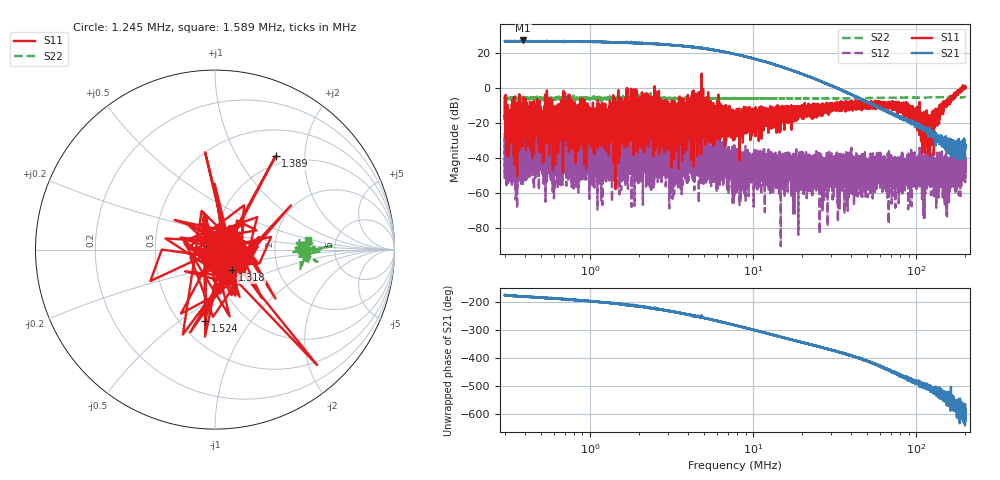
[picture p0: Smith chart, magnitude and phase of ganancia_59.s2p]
# Hz S DB R 50
! CMT, M5065, 19127446, 24.2.4/2
! Date: 11/1/2024 3:49:17 PM
! Data: Format (Calibration Info)
! Freq	S11:dB/Ang(F2)	S21:dB/Ang(F2)	S12:dB/Ang(F2)	S22:dB/Ang(F2)
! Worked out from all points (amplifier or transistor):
!   9000 points, 300 kHz to 200 MHz, reference 50 ohm
!   highest |S21| = 27.1 dB at 390.5 kHz (marker M1)
!   |S21| within 3 dB of that: start of sweep to 3.363 MHz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
!   unconditionally stable (mu >= 1): 6.124 MHz to 189.9 MHz; 190.104 MHz to 190.9933 MHz; 191.3 MHz to 192.5 MHz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
!   at 886.8 kHz: K = 1.39, MAG = 27.9 dB, |S12| = -36.8 dB
!   at 7.749 MHz: K = 4.72, MAG = 20.8 dB, |S12| = -41.7 dB
!   at 200 MHz: K = -404.89, MSG = 4.2 dB, |S12| = -42.7 dB
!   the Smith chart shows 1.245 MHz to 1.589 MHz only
!   S11 on the Smith chart (normalised r, x): 1.245 MHz: 1.04, -0.00; 1.318 MHz: 1.18, -0.28; 1.389 MHz: 0.87, +1.47; 1.524 MHz: 0.66, -0.62; 1.589 MHz: 0.97, +0.04
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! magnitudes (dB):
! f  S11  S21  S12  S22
! 300 kHz  -17.7  26.8  -52.1  -5.9
! 310.4 kHz  -23.0  26.8  -37.6  -5.7
! 390.5 kHz  -13.2  27.1  -42.8  -5.8
! 431.8 kHz  -31.3  26.7  -42.6  -6.1
! 469.2 kHz  -21.3  26.8  -33.9  -5.8
! 509.9 kHz  -19.0  26.7  -49.7  -5.9
! 710.4 kHz  -23.4  26.6  -38.0  -6.3
! 886.8 kHz  -16.5  26.5  -36.8  -6.2
! 1.245 MHz  -34.5  26.3  -45.2  -5.9
! 1.318 MHz  -16.5  26.2  -38.3  -6.0
! 1.389 MHz  -4.1  25.9  -33.4  -6.4
! 1.524 MHz  -8.0  26.2  -37.4  -6.2
! 1.589 MHz  -32.0  26.0  -27.1  -5.7
! 2.621 MHz  -22.7  25.1  -26.9  -6.6
! 4.497 MHz  -20.9  23.0  -40.3  -6.0
! 7.749 MHz  -14.7  19.4  -41.7  -6.0
! 22.91 MHz  -10.7  5.8  -43.0  -6.0
! 67.71 MHz  -11.4  -13.6  -47.9  -5.7
! 87.95 MHz  -10.9  -18.5  -47.7  -5.6
! 120.1 MHz  -21.6  -25.8  -43.9  -5.5
! 146.8 MHz  -9.7  -29.5  -48.8  -5.3
! 200 MHz  0.6  -34.3  -42.7  -5.4
